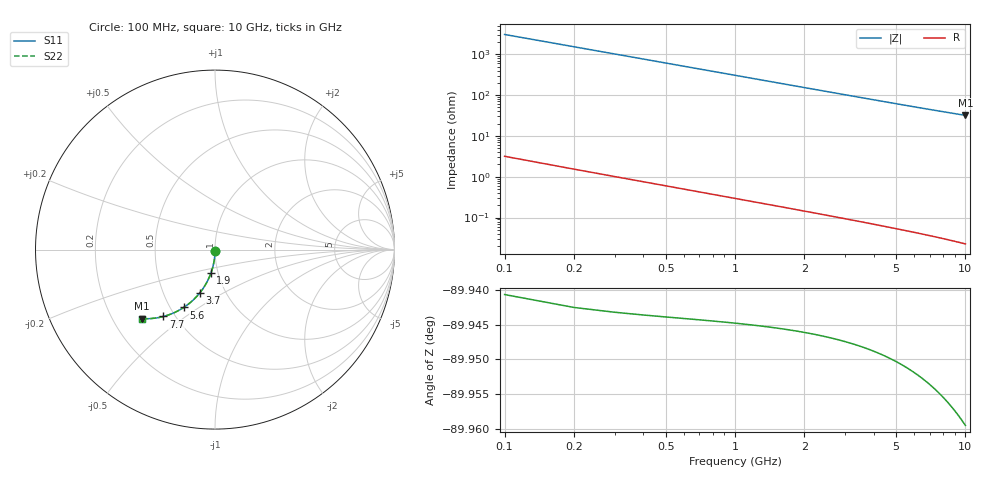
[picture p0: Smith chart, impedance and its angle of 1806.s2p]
# Hz S RI R 50.00
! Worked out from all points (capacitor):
!   100 points, 100 MHz to 10 GHz, reference 50 ohm
!   read as one part in shunt: C = 519 fF near 100 MHz
!   lowest |Z| = 32 ohm at 10 GHz (marker M1)
!   S11 on the Smith chart (normalised r, x): 100 MHz: 1.00, -0.01; 1.9 GHz: 0.92, -0.25; 3.7 GHz: 0.76, -0.39; 5.6 GHz: 0.58, -0.43; 7.7 GHz: 0.43, -0.41; 10 GHz: 0.32, -0.36
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1e8  0.000247 -0.00709  0.9996 -0.0092  0.9996 -0.0092  0.000247 -0.00709
2e8  4.51e-05 -0.0142  0.9994 -0.0184  0.9994 -0.0184  4.51e-05 -0.0142
3e8  -0.000287 -0.0213  0.999 -0.0276  0.999 -0.0276  -0.000287 -0.0213
4e8  -0.000751 -0.0284  0.9986 -0.0368  0.9986 -0.0368  -0.000751 -0.0284
5e8  -0.00134 -0.0354  0.9979 -0.0459  0.9979 -0.0459  -0.00134 -0.0354
6e8  -0.00207 -0.0425  0.9972 -0.0551  0.9972 -0.0551  -0.00207 -0.0425
8e8  -0.0039 -0.0565  0.9953 -0.0734  0.9953 -0.0734  -0.0039 -0.0565
1.1e9  -0.00761 -0.0774  0.9915 -0.1006  0.9915 -0.1006  -0.00761 -0.0774
1.4e9  -0.0124 -0.098  0.9864 -0.1275  0.9864 -0.1275  -0.0124 -0.098
1.8e9  -0.0206 -0.1249  0.978 -0.1629  0.978 -0.1629  -0.0206 -0.1249
1.9e9  -0.0229 -0.1315  0.9756 -0.1716  0.9756 -0.1716  -0.0229 -0.1315
2.2e9  -0.0306 -0.151  0.9676 -0.1974  0.9676 -0.1974  -0.0306 -0.151
2.6e9  -0.0425 -0.1761  0.9554 -0.231  0.9554 -0.231  -0.0425 -0.1761
3.4e9  -0.0709 -0.2229  0.9258 -0.2948  0.9258 -0.2948  -0.0709 -0.2229
3.7e9  -0.083 -0.2391  0.9132 -0.3174  0.9132 -0.3174  -0.083 -0.2391
4.4e9  -0.114 -0.2737  0.8809 -0.3671  0.8809 -0.3671  -0.114 -0.2737
5.1e9  -0.148 -0.3036  0.8453 -0.4121  0.8453 -0.4121  -0.148 -0.3036
5.6e9  -0.1737 -0.322  0.8184 -0.4414  0.8184 -0.4414  -0.1737 -0.322
6.7e9  -0.2328 -0.3538  0.7561 -0.4973  0.7561 -0.4973  -0.2328 -0.3538
7.7e9  -0.2877 -0.3726  0.6977 -0.5383  0.6977 -0.5383  -0.2877 -0.3726
8.4e9  -0.3257 -0.3805  0.6569 -0.562  0.6569 -0.562  -0.3257 -0.3805
1e10  -0.4092 -0.3843  0.566 -0.6022  0.566 -0.6022  -0.4092 -0.3843
